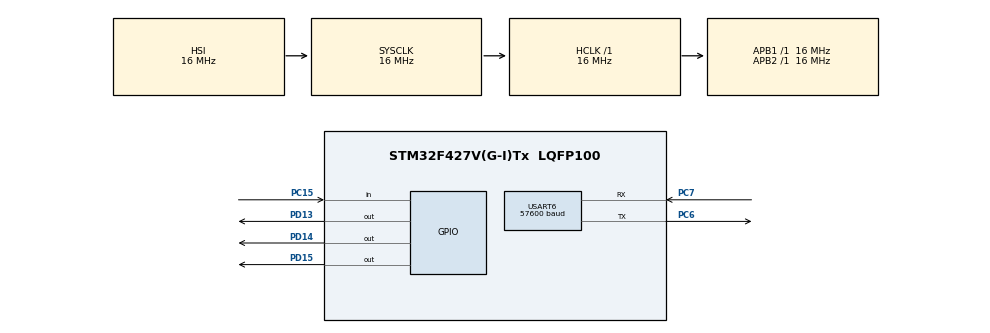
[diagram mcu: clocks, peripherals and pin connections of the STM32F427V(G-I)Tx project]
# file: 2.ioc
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Mcu.Family=STM32F4
Mcu.Name=STM32F427V(G-I)Tx
Mcu.Package=LQFP100
NVIC.PriorityGroup=NVIC_PRIORITYGROUP_4
PA13.Signal=SYS_JTMS-SWDIO
PA14.Signal=SYS_JTCK-SWCLK
PA15.Signal=SYS_JTDI
PB3.Signal=SYS_JTDO-SWO
PC15/OSC32_OUT.Signal=GPIO_Input
PC6.Mode=Asynchronous
PC6.Signal=USART6_TX
PC7.Mode=Asynchronous
PC7.Signal=USART6_RX
PD13.Signal=GPIO_Output
PD14.Signal=GPIO_Output
PD15.Signal=GPIO_Output
ProjectManager.HeapSize=0x200
ProjectManager.StackSize=0x400
ProjectManager.TargetToolchain=STM32CubeIDE
RCC.AHBFreq_Value=16000000
RCC.APB1Freq_Value=16000000
RCC.APB2Freq_Value=16000000
RCC.CortexFreq_Value=16000000
RCC.HSE_VALUE=25000000
RCC.HSI_VALUE=16000000
RCC.LSE_VALUE=32768
RCC.SYSCLKFreq_VALUE=16000000
RCC.VCOOutputFreq_Value=192000000
USART6.BaudRate=57600
USART6.VirtualMode=VM_ASYNC
board=custom

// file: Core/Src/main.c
/* USER CODE BEGIN Header */
/**
  ******************************************************************************
  * @file           : main.c
  * @brief          : Main program body
  ******************************************************************************
  * @attention
  *
  * Copyright (c) 2024 STMicroelectronics.
  * All rights reserved.
  *
  * This software is licensed under terms that can be found in the LICENSE file
  * in the root directory of this software component.
  * If no LICENSE file comes with this software, it is provided AS-IS.
  *
  ******************************************************************************
  */
/* USER CODE END Header */
#include "main.h"

/* USER CODE BEGIN Includes */
#include "gpio.h"
/* USER CODE END Includes */

 UART_HandleTypeDef huart6;

void SystemClock_Config(void);
static void MX_GPIO_Init(void);
static void MX_USART6_UART_Init(void);

int main(void)
{

  /* MCU Configuration--------------------------------------------------------*/

  /* Reset of all peripherals, Initializes the Flash interface and the Systick. */
  HAL_Init();

  /* Configure the system clock */
  SystemClock_Config();

  /* Initialize all configured peripherals */
  MX_GPIO_Init();
  MX_USART6_UART_Init();
  /* USER CODE BEGIN 2 */
  uint32_t duration = 1000;
  uint32_t blinkDuration = 500;
  uint32_t durationForGreen = duration;
  uint32_t durationForRed = 4 * duration;
  uint32_t durationForYellow = 2000;
  uint8_t buttonFlag = 0;
  /* USER CODE END 2 */

  /* Infinite loop */
  /* USER CODE BEGIN WHILE */
  while (1){
	  turnSpecificLightOn(RED);
	  buttonFlag = wait(duration, 0);
	  if (buttonFlag == 0 && duration < durationForRed) {
		  buttonFlag = wait(durationForRed - duration , 1);
	  }

	  if (buttonFlag == 1) {
		  durationForRed = duration;
		  durationForGreen = duration * 4;
		  buttonFlag = 0;
	  }

	  turnSpecificLightOn(GREEN);
	  wait(durationForGreen, 0);

	  durationForRed = 4 * duration;
	  durationForGreen = duration;

	  for(uint32_t i = 0; i < 3; i++){
			turnAllOff();
			buttonFlag = wait(blinkDuration, 0);
			turnSpecificLightOn(GREEN);
			buttonFlag = wait(blinkDuration, 0) | buttonFlag;
			if (buttonFlag == 1) {
				durationForRed = duration;
				durationForGreen = duration * 4;
				buttonFlag = 0;
		    }
	  }

	  turnSpecificLightOn(YELLOW);
	  buttonFlag = wait(durationForYellow, 0);
	  if (buttonFlag == 1) {
		  durationForRed = duration;
		  durationForGreen = duration * 4;
		  buttonFlag = 0;
	  }

//	  durationForRed = 4 * duration;
//	  buttonFlag = 0;
//	  turnSpecificLightOn(YELLOW);
//	  startTime = HAL_GetTick();
//	  while((HAL_GetTick() - startTime) < durationForYellow){
//		  if(HAL_GPIO_ReadPin(GPIOC, GPIO_PIN_15) == 0 && buttonFlag == 0) {
//			//  durationForRed = durationForRed / 4;
//			  buttonFlag = 1;
//		  }
//	  }

    /* USER CODE END WHILE */

  }
}

void SystemClock_Config(void)
{
  RCC_OscInitTypeDef RCC_OscInitStruct = {0};
  RCC_ClkInitTypeDef RCC_ClkInitStruct = {0};

  /** Configure the main internal regulator output voltage
  */
  __HAL_RCC_PWR_CLK_ENABLE();
  __HAL_PWR_VOLTAGESCALING_CONFIG(PWR_REGULATOR_VOLTAGE_SCALE3);

  /** Initializes the RCC Oscillators according to the specified parameters
  * in the RCC_OscInitTypeDef structure.
  */
  RCC_OscInitStruct.OscillatorType = RCC_OSCILLATORTYPE_HSI;
  RCC_OscInitStruct.HSIState = RCC_HSI_ON;
  RCC_OscInitStruct.HSICalibrationValue = RCC_HSICALIBRATION_DEFAULT;
  RCC_OscInitStruct.PLL.PLLState = RCC_PLL_NONE;
  if (HAL_RCC_OscConfig(&RCC_OscInitStruct) != HAL_OK)
  {
    Error_Handler();
  }

  /** Initializes the CPU, AHB and APB buses clocks
  */
  RCC_ClkInitStruct.ClockType = RCC_CLOCKTYPE_HCLK|RCC_CLOCKTYPE_SYSCLK
                              |RCC_CLOCKTYPE_PCLK1|RCC_CLOCKTYPE_PCLK2;
  RCC_ClkInitStruct.SYSCLKSource = RCC_SYSCLKSOURCE_HSI;
  RCC_ClkInitStruct.AHBCLKDivider = RCC_SYSCLK_DIV1;
  RCC_ClkInitStruct.APB1CLKDivider = RCC_HCLK_DIV1;
  RCC_ClkInitStruct.APB2CLKDivider = RCC_HCLK_DIV1;

  if (HAL_RCC_ClockConfig(&RCC_ClkInitStruct, FLASH_LATENCY_0) != HAL_OK)
  {
    Error_Handler();
  }
}

static void MX_USART6_UART_Init(void)
{

  huart6.Instance = USART6;
  huart6.Init.BaudRate = 57600;
  huart6.Init.WordLength = UART_WORDLENGTH_8B;
  huart6.Init.StopBits = UART_STOPBITS_1;
  huart6.Init.Parity = UART_PARITY_NONE;
  huart6.Init.Mode = UART_MODE_TX_RX;
  huart6.Init.HwFlowCtl = UART_HWCONTROL_NONE;
  huart6.Init.OverSampling = UART_OVERSAMPLING_16;
  if (HAL_UART_Init(&huart6) != HAL_OK)
  {
    Error_Handler();
  }

}

static void MX_GPIO_Init(void)
{
  GPIO_InitTypeDef GPIO_InitStruct = {0};

  /* GPIO Ports Clock Enable */
  __HAL_RCC_GPIOC_CLK_ENABLE();
  __HAL_RCC_GPIOD_CLK_ENABLE();
  __HAL_RCC_GPIOA_CLK_ENABLE();
  __HAL_RCC_GPIOB_CLK_ENABLE();

  /*Configure GPIO pin Output Level */
  HAL_GPIO_WritePin(GPIOD, GPIO_PIN_13|GPIO_PIN_14|GPIO_PIN_15, GPIO_PIN_RESET);

  /*Configure GPIO pin : PC15 */
  GPIO_InitStruct.Pin = GPIO_PIN_15;
  GPIO_InitStruct.Mode = GPIO_MODE_INPUT;
  GPIO_InitStruct.Pull = GPIO_NOPULL;
  HAL_GPIO_Init(GPIOC, &GPIO_InitStruct);

  /*Configure GPIO pins : PD13 PD14 PD15 */
  GPIO_InitStruct.Pin = GPIO_PIN_13|GPIO_PIN_14|GPIO_PIN_15;
  GPIO_InitStruct.Mode = GPIO_MODE_OUTPUT_PP;
  GPIO_InitStruct.Pull = GPIO_NOPULL;
  GPIO_InitStruct.Speed = GPIO_SPEED_FREQ_LOW;
  HAL_GPIO_Init(GPIOD, &GPIO_InitStruct);

}

void Error_Handler(void)
{
  __disable_irq();
  while (1)
  {
  }
}
